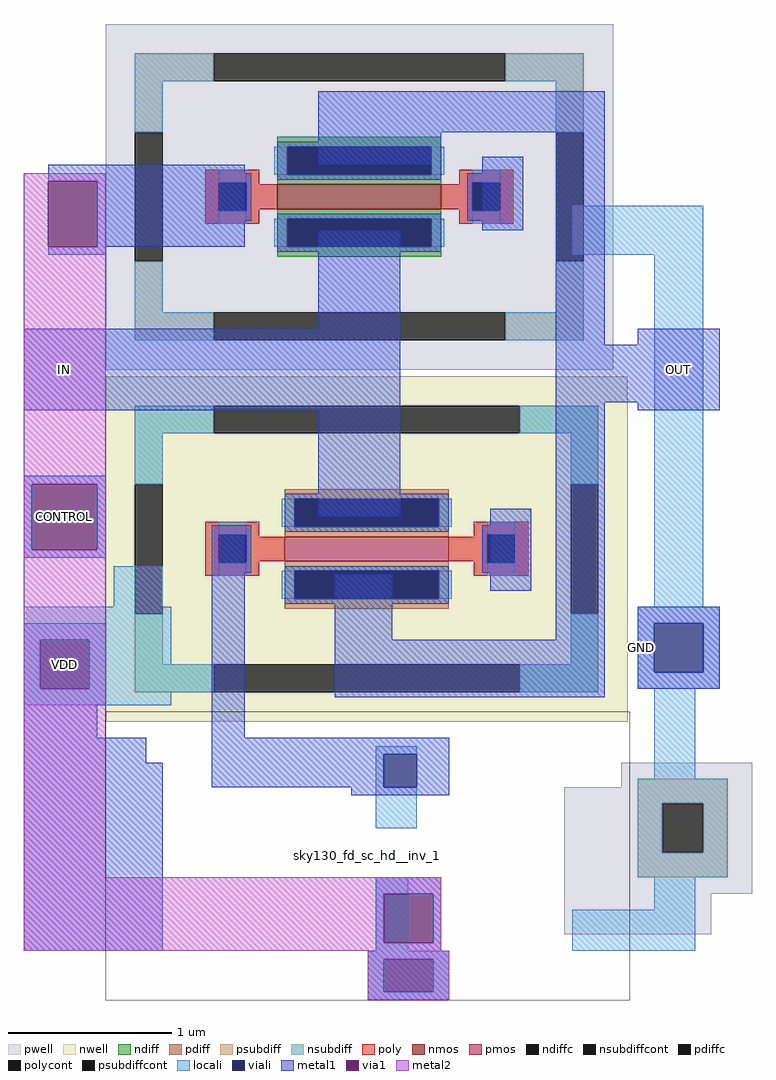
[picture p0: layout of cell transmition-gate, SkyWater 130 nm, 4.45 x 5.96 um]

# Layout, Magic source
magic
tech sky130A
magscale 1 2
<< pwell >>
rect 1730 -1180 1890 -1150
rect 1660 -1310 1890 -1180
rect 1660 -1360 1840 -1310
<< psubdiff >>
rect 1750 -1200 1860 -1170
rect 1750 -1260 1780 -1200
rect 1830 -1260 1860 -1200
rect 1750 -1290 1860 -1260
<< psubdiffcont >>
rect 1780 -1260 1830 -1200
<< locali >>
rect 1670 -530 1830 -470
rect 1110 -960 1170 -910
rect 1770 -960 1830 -530
rect 1000 -1000 1180 -960
rect 1000 -1060 1020 -1000
rect 1080 -1060 1180 -1000
rect 1750 -980 1850 -960
rect 1750 -1040 1770 -980
rect 1830 -1040 1850 -980
rect 1750 -1060 1850 -1040
rect 1000 -1080 1180 -1060
rect 1430 -1140 1480 -1130
rect 1430 -1180 1440 -1140
rect 1770 -1170 1820 -1060
rect 1430 -1230 1480 -1180
rect 1750 -1200 1860 -1170
rect 1750 -1260 1780 -1200
rect 1830 -1260 1860 -1200
rect 1750 -1290 1860 -1260
rect 1430 -1380 1470 -1290
rect 1770 -1330 1820 -1290
rect 1670 -1380 1820 -1330
rect 1420 -1390 1520 -1380
rect 1420 -1430 1440 -1390
rect 1500 -1430 1520 -1390
rect 1420 -1440 1520 -1430
<< viali >>
rect 1020 -1060 1080 -1000
rect 1770 -1040 1830 -980
rect 1440 -1180 1480 -1140
rect 1440 -1430 1500 -1390
<< metal1 >>
rect 1360 -380 1710 -330
rect 1360 -420 1510 -380
rect 1030 -440 1270 -420
rect 1090 -520 1270 -440
rect 1560 -500 1610 -410
rect 1030 -530 1100 -520
rect 1360 -620 1460 -500
rect 1000 -720 1460 -620
rect 1000 -810 1100 -800
rect 1000 -890 1010 -810
rect 1090 -890 1100 -810
rect 1360 -850 1460 -720
rect 1650 -640 1710 -380
rect 1750 -640 1850 -620
rect 1650 -710 1850 -640
rect 1000 -900 1100 -890
rect 1000 -1000 1100 -980
rect 1000 -1060 1020 -1000
rect 1080 -1060 1100 -1000
rect 1000 -1080 1100 -1060
rect 1000 -1120 1090 -1080
rect 1230 -1120 1270 -860
rect 1380 -1000 1450 -920
rect 1570 -940 1620 -840
rect 1650 -1000 1710 -710
rect 1750 -720 1850 -710
rect 1380 -1070 1710 -1000
rect 1750 -980 1850 -960
rect 1750 -1040 1770 -980
rect 1830 -1040 1850 -980
rect 1750 -1060 1850 -1040
rect 1000 -1150 1150 -1120
rect 1230 -1140 1520 -1120
rect 1000 -1380 1170 -1150
rect 1230 -1180 1440 -1140
rect 1480 -1180 1520 -1140
rect 1400 -1190 1520 -1180
rect 1430 -1310 1510 -1290
rect 1430 -1370 1440 -1310
rect 1500 -1370 1510 -1310
rect 1430 -1380 1510 -1370
rect 1420 -1390 1520 -1380
rect 1420 -1430 1440 -1390
rect 1500 -1430 1520 -1390
rect 1420 -1440 1520 -1430
<< via1 >>
rect 1030 -520 1090 -440
rect 1010 -890 1090 -810
rect 1440 -1370 1500 -1310
<< metal2 >>
rect 1000 -440 1100 -430
rect 1000 -520 1030 -440
rect 1090 -520 1100 -440
rect 1000 -810 1100 -520
rect 1000 -890 1010 -810
rect 1090 -890 1100 -810
rect 1000 -1290 1100 -890
rect 1000 -1310 1510 -1290
rect 1000 -1370 1440 -1310
rect 1500 -1370 1510 -1310
rect 1000 -1380 1510 -1370
rect 1420 -1440 1520 -1380
use sky130_fd_sc_hd__inv_1  x1 $PDKPATH/libs.ref/sky130_fd_sc_hd/mag
transform 0 -1 1692 1 0 -1402
box -38 -48 314 592
use sky130_fd_pr__pfet_01v8_7HN6Y2  XM2
transform 0 1 1419 -1 0 -889
box -211 -319 211 319
use sky130_fd_pr__nfet_01v8_34VMYE  XM3
transform 0 1 1410 -1 0 -459
box -211 -310 211 310
<< labels >>
flabel metal1 1000 -720 1100 -620 0 FreeSans 160 0 0 0 IN
port 2 nsew
flabel metal1 1000 -900 1100 -800 0 FreeSans 160 0 0 0 CONTROL
port 0 nsew
flabel metal1 1750 -720 1850 -620 0 FreeSans 160 0 0 0 OUT
port 1 nsew
flabel metal1 1750 -1060 1760 -960 0 FreeSans 160 0 0 0 GND
port 4 nsew
flabel metal1 1000 -1080 1100 -980 0 FreeSans 160 0 0 0 VDD
port 3 nsew
<< end >>

# cell sky130_fd_pr__pfet_01v8_7HN6Y2: kit device sky130_fd_pr__pfet_01v8, w 1.0 l 0.15 m 1 nf 1 diffcov 100 polycov 100 guard 1 glc 1 grc 1 gtc 1 gbc 1 tbcov 100 rlcov 100 topc 1 botc 1 poverlap 0 doverlap 1 lmin 0.15 wmin 0.42 class mosfet compatible {sky130_fd_pr__pfet_01v8 sky130_fd_pr__pfet_01v8_lvt sky130_fd_pr__pfet_01v8_hvt sky130_fd_pr__pfet_g5v0d10v5} full_metal 1 conn_gates 0 viasrc 100 viadrn 100 viagate 100 viagb 0 viagr 0 viagl 0 viagt 0 doports 1

# cell sky130_fd_pr__nfet_01v8_34VMYE: kit device sky130_fd_pr__nfet_01v8, w 1.0 l 0.15 m 1 nf 1 diffcov 100 polycov 100 guard 1 glc 1 grc 1 gtc 1 gbc 1 tbcov 100 rlcov 100 topc 1 botc 1 poverlap 0 doverlap 1 lmin 0.15 wmin 0.42 class mosfet compatible {sky130_fd_pr__nfet_01v8 sky130_fd_pr__nfet_01v8_lvt sky130_fd_bs_flash__special_sonosfet_star sky130_fd_pr__nfet_g5v0d10v5 sky130_fd_pr__nfet_05v0_nvt sky130_fd_pr__nfet_03v3_nvt} full_metal 1 conn_gates 0 viasrc 100 viadrn 100 viagate 100 viagb 0 viagr 0 viagl 0 viagt 0 doports 1
